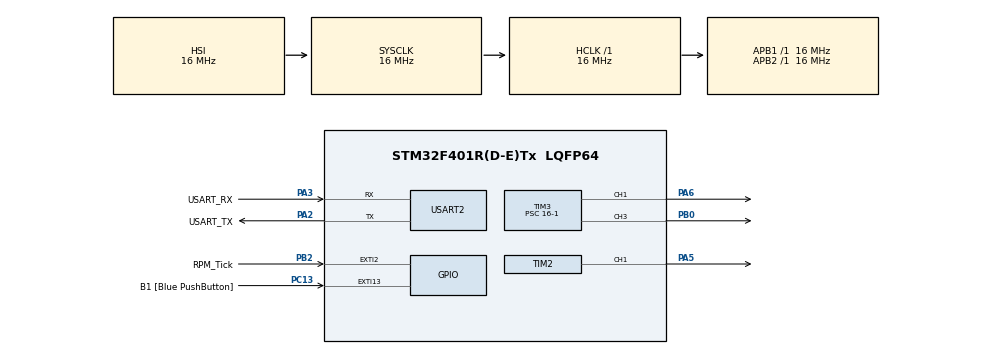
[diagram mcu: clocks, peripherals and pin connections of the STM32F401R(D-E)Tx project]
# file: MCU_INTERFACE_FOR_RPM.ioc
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Mcu.Family=STM32F4
Mcu.Name=STM32F401R(D-E)Tx
Mcu.Package=LQFP64
NVIC.EXTI15_10_IRQn=true\:0\:0\:false\:false\:true\:true\:true\:true
NVIC.EXTI2_IRQn=true\:0\:0\:false\:false\:true\:true\:true\:true
NVIC.PriorityGroup=NVIC_PRIORITYGROUP_4
NVIC.TIM2_IRQn=true\:0\:0\:false\:false\:true\:true\:true\:true
NVIC.USART2_IRQn=true\:0\:0\:false\:false\:true\:true\:true\:true
PA13.GPIO_Label=TMS
PA13.Mode=Trace_Asynchronous_SW
PA13.Signal=SYS_JTMS-SWDIO
PA14.GPIO_Label=TCK
PA14.Mode=Trace_Asynchronous_SW
PA14.Signal=SYS_JTCK-SWCLK
PA2.GPIO_Label=USART_TX
PA2.GPIO_Mode=GPIO_MODE_AF_PP
PA2.GPIO_PuPd=GPIO_NOPULL
PA2.GPIO_Speed=GPIO_SPEED_FREQ_LOW
PA2.Mode=Asynchronous
PA2.Signal=USART2_TX
PA3.GPIO_Label=USART_RX
PA3.GPIO_Mode=GPIO_MODE_AF_PP
PA3.GPIO_PuPd=GPIO_NOPULL
PA3.GPIO_Speed=GPIO_SPEED_FREQ_LOW
PA3.Mode=Asynchronous
PA3.Signal=USART2_RX
PA5.Signal=S_TIM2_CH1_ETR
PA6.Signal=S_TIM3_CH1
PB0.Signal=S_TIM3_CH3
PB2.GPIO_Label=RPM_Tick
PB2.Signal=GPXTI2
PB3.GPIO_Label=SWO
PB3.Mode=Trace_Asynchronous_SW
PB3.Signal=SYS_JTDO-SWO
PC13-ANTI_TAMP.GPIO_Label=B1 [Blue PushButton]
PC13-ANTI_TAMP.GPIO_ModeDefaultEXTI=GPIO_MODE_IT_FALLING
PC13-ANTI_TAMP.GPIO_PuPd=GPIO_NOPULL
PC13-ANTI_TAMP.Signal=GPXTI13
PC14-OSC32_IN.Mode=LSE-External-Oscillator
PC14-OSC32_IN.Signal=RCC_OSC32_IN
PC15-OSC32_OUT.Mode=LSE-External-Oscillator
PC15-OSC32_OUT.Signal=RCC_OSC32_OUT
PH0\ -\ OSC_IN.Mode=HSE-External-Clock-Source
PH0\ -\ OSC_IN.Signal=RCC_OSC_IN
PH1\ -\ OSC_OUT.Mode=HSE-External-Clock-Source
PH1\ -\ OSC_OUT.Signal=RCC_OSC_OUT
ProjectManager.HeapSize=0x200
ProjectManager.StackSize=0x400
ProjectManager.TargetToolchain=STM32CubeIDE
RCC.48MHZClocksFreq_Value=48000000
RCC.AHBFreq_Value=16000000
RCC.APB1Freq_Value=16000000
RCC.APB1TimFreq_Value=16000000
RCC.APB2Freq_Value=16000000
RCC.APB2TimFreq_Value=16000000
RCC.CortexFreq_Value=16000000
RCC.HCLKFreq_Value=16000000
RCC.HSE_VALUE=8000000
RCC.HSI_VALUE=16000000
RCC.PLLN=336
RCC.PLLP=RCC_PLLP_DIV4
RCC.PLLQ=7
RCC.SYSCLKFreq_VALUE=16000000
RCC.VCOOutputFreq_Value=336000000
SH.S_TIM2_CH1_ETR.0=TIM2_CH1,PWM Generation1 CH1
SH.S_TIM3_CH1.0=TIM3_CH1,PWM Generation1 CH1
SH.S_TIM3_CH3.0=TIM3_CH3,PWM Generation3 CH3
TIM2.AutoReloadPreload=TIM_AUTORELOAD_PRELOAD_ENABLE
TIM2.Channel-PWM\ Generation1\ CH1=TIM_CHANNEL_1
TIM2.Period=500-1
TIM2.Prescaler=16000-1
TIM2.Pulse-PWM\ Generation1\ CH1=250-1
TIM3.AutoReloadPreload=TIM_AUTORELOAD_PRELOAD_ENABLE
TIM3.Channel-PWM\ Generation1\ CH1=TIM_CHANNEL_1
TIM3.Channel-PWM\ Generation3\ CH3=TIM_CHANNEL_3
TIM3.Period=2000-1
TIM3.Prescaler=16-1
TIM3.Pulse-PWM\ Generation1\ CH1=1200-1
USART2.VirtualMode=VM_ASYNC
VP_TIM2_VS_ClockSourceINT.Mode=Internal
VP_TIM3_VS_ClockSourceINT.Mode=Internal
board=NUCLEO-F401RE

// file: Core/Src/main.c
 /* USER CODE BEGIN Header */
/**
  ******************************************************************************
  * @file           : main.c
  * @brief          : Main program body
  ******************************************************************************
  * @attention
  *
  * Copyright (c) 2025 STMicroelectronics.
  * All rights reserved.
  *
  * This software is licensed under terms that can be found in the LICENSE file
  * in the root directory of this software component.
  * If no LICENSE file comes with this software, it is provided AS-IS.
  *
  ******************************************************************************
  */
/* USER CODE END Header */
#include "main.h"

/* USER CODE BEGIN Includes */
#include <string.h>
#include <stdio.h>
/* USER CODE END Includes */

TIM_HandleTypeDef htim2;
TIM_HandleTypeDef htim3;

UART_HandleTypeDef huart2;

/* USER CODE BEGIN PV */
volatile uint8_t rpm_tick_count = 0;
uint32_t rpm = 0;
uint32_t rpm_tick_count1 = 0;
uint32_t rpm_tick_count2 = 0;
uint32_t rpm_tick_count_diff = 0;
uint32_t rpm_time_out = 0;
/* USER CODE END PV */

void SystemClock_Config(void);
static void MX_GPIO_Init(void);
static void MX_USART2_UART_Init(void);
static void MX_TIM2_Init(void);
static void MX_TIM3_Init(void);

int main(void)
{

  /* USER CODE BEGIN 1 */

uint8_t txd_msg_buffer[64] = {0};

// for later
/*
void get_rpm (void)
{
	HAL_NVIC_DisableIRQ(EXTI2_IRQn);
	HAL_TIM_Base_Stop_IT(&htim2);

	rpm = 0;
	rpm_tick_count = 0;
	rpm_tick_count1 = 0;
	rpm_tick_count2 = 0;
	rpm_tick_count_diff = 0;
	rpm_time_out = 0;

	HAL_NVIC_EnableIRQ(EXTI2_IRQn);
	HAL_TIM_Base_Start_IT(&htim2);

	while((rpm_time_out==0)){} //wait for next RPM timer time out
	rpm_tick_count1 = rpm_tick_count;
	rpm_time_out=0;

	while((rpm_time_out ==0)){}	//second timer time out
	rpm_tick_count2 = rpm_tick_count;
	rpm_time_out=0;

	HAL_NVIC_DisableIRQ(EXTI2_IRQn);
	HAL_TIM_Base_Stop_IT(&htim2);

	rpm_tick_count_diff = (rpm_tick_count2 - rpm_tick_count1);
	uint16_t x = TIM2->ARR + 1;
	uint16_t z = 20; //20 slots
	rpm = (rpm_tick_count_diff*60) / (z *x);	// 60 to scale to a minute
	return;
}
*/
  /* USER CODE END 1 */

  /* MCU Configuration--------------------------------------------------------*/

  /* Reset of all peripherals, Initializes the Flash interface and the Systick. */
  HAL_Init();

  /* Configure the system clock */
  SystemClock_Config();

  /* Initialize all configured peripherals */
  MX_GPIO_Init();
  MX_USART2_UART_Init();
  MX_TIM2_Init();
  MX_TIM3_Init();
  /* USER CODE BEGIN 2 */
  HAL_TIM_Base_Init(&htim3);
  HAL_TIM_PWM_Start(&htim3, TIM_CHANNEL_1);
  HAL_TIM_PWM_Start(&htim3, TIM_CHANNEL_3);
  TIM3->PSC = 0;	// PSC register to 0 for no scaling
  TIM3->ARR = 60000;		//ARR register to 60000 for long period (limit of 60000)
  TIM3->CCR1 = 0;
  TIM3->CCR3 = 0;
  int TIM3_CH1_DCVAL = 0;
  int TIM3_CH3_DCVAL = 0;

  /* USER CODE END 2 */

  /* Infinite loop */
  /* USER CODE BEGIN WHILE */
  while (1)
   {

	 // note: using interrupt based transmission to putty, also not reseting the count for rpm_tick_count
 	 while(TIM3_CH1_DCVAL < 60000) {
 		 	 TIM3_CH1_DCVAL += (50);
 		 	 TIM3->CCR1 = TIM3_CH1_DCVAL;
 		 	 HAL_Delay(10);
 		 	 //get_rpm();
 		 	 //send to lab comp
 		 	 sprintf((char*)txd_msg_buffer, "RPM_tick_count: %d\r\n", rpm_tick_count);
 		 	 HAL_UART_Transmit_IT(&huart2, txd_msg_buffer, strlen((char*)txd_msg_buffer));
 	 	 	 //HAL_UART_Transmit(&huart2, txd_msg_buffer, strlen((char*)txd_msg_buffer), 1000);
 	 }
 	 HAL_Delay(5000);
 	 while(TIM3_CH1_DCVAL > 0) {
 		 	 TIM3_CH1_DCVAL -= (50);
 		 	 TIM3->CCR1 = TIM3_CH1_DCVAL;
 		 	 HAL_Delay(10);
 		 	 //get_rpm();
 		 	 //send to lab comp
 		 	 sprintf((char*)txd_msg_buffer, "RPM_tick_count: %d\r\n", rpm_tick_count);
 		 	 HAL_UART_Transmit_IT(&huart2, txd_msg_buffer, strlen((char*)txd_msg_buffer));
 	 	 	 //HAL_UART_Transmit(&huart2, txd_msg_buffer, strlen((char*)txd_msg_buffer), 1000);
 	 }
 	 HAL_Delay(5000);
 	 TIM3->CCR1 = 30000;
 	 TIM3->CCR3 = 0;
 	 while(TIM3_CH3_DCVAL < 60000) {
 	 	 	 TIM3_CH3_DCVAL += (50);
 	 	 	 TIM3->CCR3 = TIM3_CH3_DCVAL;
 		 	 HAL_Delay(10);
 	 	 	 //get_rpm();
 	 	 	 //send to lab comp
 	 	 	 sprintf((char*)txd_msg_buffer, "RPM_tick_count: %d\r\n", rpm_tick_count);
 	 	 	 HAL_UART_Transmit_IT(&huart2, txd_msg_buffer, strlen((char*)txd_msg_buffer));
 	 	 	 //HAL_UART_Transmit(&huart2, txd_msg_buffer, strlen((char*)txd_msg_buffer), 1000);
 	 }
 	  HAL_Delay(5000);
 	  while(TIM3_CH3_DCVAL > 0) {
 	 	 	 TIM3_CH3_DCVAL -= (50);
 	 	 	 TIM3->CCR3 = TIM3_CH3_DCVAL;
 		 	 HAL_Delay(10);
 	 	 	 //get_rpm();
 	 	 	 //send to lab comp
 	 	 	 sprintf((char*)txd_msg_buffer, "RPM_tick_count: %d\r\n", rpm_tick_count);
 	 	 	 HAL_UART_Transmit_IT(&huart2, txd_msg_buffer, strlen((char*)txd_msg_buffer));
 	 	 	//HAL_UART_Transmit(&huart2, txd_msg_buffer, strlen((char*)txd_msg_buffer), 1000);
 	  }
 	  HAL_Delay(5000);
 	  TIM3->CCR1 = 0;
 	  TIM3->CCR3 = 30000;
    /* USER CODE END WHILE */

  }
}

void SystemClock_Config(void)
{
  RCC_OscInitTypeDef RCC_OscInitStruct = {0};
  RCC_ClkInitTypeDef RCC_ClkInitStruct = {0};

  /** Configure the main internal regulator output voltage
  */
  __HAL_RCC_PWR_CLK_ENABLE();
  __HAL_PWR_VOLTAGESCALING_CONFIG(PWR_REGULATOR_VOLTAGE_SCALE2);

  /** Initializes the RCC Oscillators according to the specified parameters
  * in the RCC_OscInitTypeDef structure.
  */
  RCC_OscInitStruct.OscillatorType = RCC_OSCILLATORTYPE_HSI;
  RCC_OscInitStruct.HSIState = RCC_HSI_ON;
  RCC_OscInitStruct.HSICalibrationValue = RCC_HSICALIBRATION_DEFAULT;
  RCC_OscInitStruct.PLL.PLLState = RCC_PLL_NONE;
  if (HAL_RCC_OscConfig(&RCC_OscInitStruct) != HAL_OK)
  {
    Error_Handler();
  }

  /** Initializes the CPU, AHB and APB buses clocks
  */
  RCC_ClkInitStruct.ClockType = RCC_CLOCKTYPE_HCLK|RCC_CLOCKTYPE_SYSCLK
                              |RCC_CLOCKTYPE_PCLK1|RCC_CLOCKTYPE_PCLK2;
  RCC_ClkInitStruct.SYSCLKSource = RCC_SYSCLKSOURCE_HSI;
  RCC_ClkInitStruct.AHBCLKDivider = RCC_SYSCLK_DIV1;
  RCC_ClkInitStruct.APB1CLKDivider = RCC_HCLK_DIV1;
  RCC_ClkInitStruct.APB2CLKDivider = RCC_HCLK_DIV1;

  if (HAL_RCC_ClockConfig(&RCC_ClkInitStruct, FLASH_LATENCY_0) != HAL_OK)
  {
    Error_Handler();
  }
}

static void MX_TIM2_Init(void)
{

  TIM_ClockConfigTypeDef sClockSourceConfig = {0};
  TIM_MasterConfigTypeDef sMasterConfig = {0};
  TIM_OC_InitTypeDef sConfigOC = {0};

  htim2.Instance = TIM2;
  htim2.Init.Prescaler = 16000-1;
  htim2.Init.CounterMode = TIM_COUNTERMODE_UP;
  htim2.Init.Period = 500-1;
  htim2.Init.ClockDivision = TIM_CLOCKDIVISION_DIV1;
  htim2.Init.AutoReloadPreload = TIM_AUTORELOAD_PRELOAD_ENABLE;
  if (HAL_TIM_Base_Init(&htim2) != HAL_OK)
  {
    Error_Handler();
  }
  sClockSourceConfig.ClockSource = TIM_CLOCKSOURCE_INTERNAL;
  if (HAL_TIM_ConfigClockSource(&htim2, &sClockSourceConfig) != HAL_OK)
  {
    Error_Handler();
  }
  if (HAL_TIM_PWM_Init(&htim2) != HAL_OK)
  {
    Error_Handler();
  }
  sMasterConfig.MasterOutputTrigger = TIM_TRGO_RESET;
  sMasterConfig.MasterSlaveMode = TIM_MASTERSLAVEMODE_DISABLE;
  if (HAL_TIMEx_MasterConfigSynchronization(&htim2, &sMasterConfig) != HAL_OK)
  {
    Error_Handler();
  }
  sConfigOC.OCMode = TIM_OCMODE_PWM1;
  sConfigOC.Pulse = 250-1;
  sConfigOC.OCPolarity = TIM_OCPOLARITY_HIGH;
  sConfigOC.OCFastMode = TIM_OCFAST_DISABLE;
  if (HAL_TIM_PWM_ConfigChannel(&htim2, &sConfigOC, TIM_CHANNEL_1) != HAL_OK)
  {
    Error_Handler();
  }
  HAL_TIM_MspPostInit(&htim2);

}

static void MX_TIM3_Init(void)
{

  TIM_ClockConfigTypeDef sClockSourceConfig = {0};
  TIM_MasterConfigTypeDef sMasterConfig = {0};
  TIM_OC_InitTypeDef sConfigOC = {0};

  htim3.Instance = TIM3;
  htim3.Init.Prescaler = 16-1;
  htim3.Init.CounterMode = TIM_COUNTERMODE_UP;
  htim3.Init.Period = 2000-1;
  htim3.Init.ClockDivision = TIM_CLOCKDIVISION_DIV1;
  htim3.Init.AutoReloadPreload = TIM_AUTORELOAD_PRELOAD_ENABLE;
  if (HAL_TIM_Base_Init(&htim3) != HAL_OK)
  {
    Error_Handler();
  }
  sClockSourceConfig.ClockSource = TIM_CLOCKSOURCE_INTERNAL;
  if (HAL_TIM_ConfigClockSource(&htim3, &sClockSourceConfig) != HAL_OK)
  {
    Error_Handler();
  }
  if (HAL_TIM_PWM_Init(&htim3) != HAL_OK)
  {
    Error_Handler();
  }
  sMasterConfig.MasterOutputTrigger = TIM_TRGO_RESET;
  sMasterConfig.MasterSlaveMode = TIM_MASTERSLAVEMODE_DISABLE;
  if (HAL_TIMEx_MasterConfigSynchronization(&htim3, &sMasterConfig) != HAL_OK)
  {
    Error_Handler();
  }
  sConfigOC.OCMode = TIM_OCMODE_PWM1;
  sConfigOC.Pulse = 1200-1;
  sConfigOC.OCPolarity = TIM_OCPOLARITY_HIGH;
  sConfigOC.OCFastMode = TIM_OCFAST_DISABLE;
  if (HAL_TIM_PWM_ConfigChannel(&htim3, &sConfigOC, TIM_CHANNEL_1) != HAL_OK)
  {
    Error_Handler();
  }
  sConfigOC.Pulse = 0;
  if (HAL_TIM_PWM_ConfigChannel(&htim3, &sConfigOC, TIM_CHANNEL_3) != HAL_OK)
  {
    Error_Handler();
  }
  HAL_TIM_MspPostInit(&htim3);

}

static void MX_USART2_UART_Init(void)
{

  huart2.Instance = USART2;
  huart2.Init.BaudRate = 115200;
  huart2.Init.WordLength = UART_WORDLENGTH_8B;
  huart2.Init.StopBits = UART_STOPBITS_1;
  huart2.Init.Parity = UART_PARITY_NONE;
  huart2.Init.Mode = UART_MODE_TX_RX;
  huart2.Init.HwFlowCtl = UART_HWCONTROL_NONE;
  huart2.Init.OverSampling = UART_OVERSAMPLING_16;
  if (HAL_UART_Init(&huart2) != HAL_OK)
  {
    Error_Handler();
  }

}

static void MX_GPIO_Init(void)
{
  GPIO_InitTypeDef GPIO_InitStruct = {0};

  /* GPIO Ports Clock Enable */
  __HAL_RCC_GPIOC_CLK_ENABLE();
  __HAL_RCC_GPIOH_CLK_ENABLE();
  __HAL_RCC_GPIOA_CLK_ENABLE();
  __HAL_RCC_GPIOB_CLK_ENABLE();

  /*Configure GPIO pin : B1_Pin */
  GPIO_InitStruct.Pin = B1_Pin;
  GPIO_InitStruct.Mode = GPIO_MODE_IT_FALLING;
  GPIO_InitStruct.Pull = GPIO_NOPULL;
  HAL_GPIO_Init(B1_GPIO_Port, &GPIO_InitStruct);

  /*Configure GPIO pin : RPM_Tick_Pin */
  GPIO_InitStruct.Pin = RPM_Tick_Pin;
  GPIO_InitStruct.Mode = GPIO_MODE_IT_RISING;
  GPIO_InitStruct.Pull = GPIO_NOPULL;
  HAL_GPIO_Init(RPM_Tick_GPIO_Port, &GPIO_InitStruct);

  /* EXTI interrupt init*/
  HAL_NVIC_SetPriority(EXTI2_IRQn, 0, 0);
  HAL_NVIC_EnableIRQ(EXTI2_IRQn);

  HAL_NVIC_SetPriority(EXTI15_10_IRQn, 0, 0);
  HAL_NVIC_EnableIRQ(EXTI15_10_IRQn);

}

/* USER CODE BEGIN 4 */
void HAL_GPIO_EXTI_Callback(uint16_t GPIO_PIN)
{
	if(GPIO_PIN == RPM_Tick_Pin)
	{
		rpm_tick_count += 1;
	}
}
/* USER CODE END 4 */

void Error_Handler(void)
{
  __disable_irq();
  while (1)
  {
  }
}
